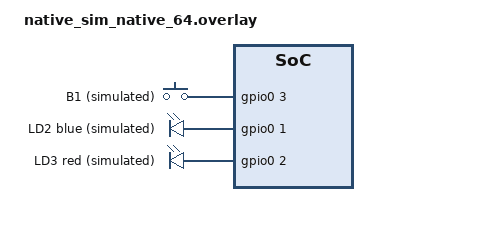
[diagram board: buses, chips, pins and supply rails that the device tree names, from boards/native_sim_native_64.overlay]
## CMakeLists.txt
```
cmake_minimum_required(VERSION 3.20.0)

# HINTS: use the workspace's Zephyr (set by west/embsk), not another tree registered on this machine
find_package(Zephyr REQUIRED HINTS $ENV{ZEPHYR_BASE})
project(thermal_monitor)

target_sources(app PRIVATE src/main.c src/monitor.c src/shell_cmds.c src/thermal.c)

# SIL target (west build -b native_sim/native/64 ...): simulated devices + `sim` shell, see boards/native_sim_native_64.overlay
target_sources_ifdef(CONFIG_BOARD_NATIVE_SIM app PRIVATE src/sim/sim_devices.c src/sim/sim_shell.c)
```

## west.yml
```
# West manifest. This folder is the manifest repo; the west workspace is its parent folder.
# `embsk setup` keeps `revision` and `name-allowlist` in sync with the board chosen with Alt+A,
# so `west update` fetches Zephyr + only the modules this board needs (not all ~60 of them).
manifest:
  version: "1.0"
  projects:
    - name: zephyr
      url: https://github.com/zephyrproject-rtos/zephyr
      revision: v4.4.2
      import:
        path-prefix: deps
        name-allowlist:
          - cmsis_6
          - hal_stm32
```

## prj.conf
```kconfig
# Peripherals
CONFIG_GPIO=y
CONFIG_SENSOR=y
CONFIG_ADC=y
CONFIG_WATCHDOG=y
CONFIG_HWINFO=y

# Evidence for humans and agents over the ST-LINK VCP (USART3, 115200 8N1)
CONFIG_LOG=y
CONFIG_SHELL=y
CONFIG_THREAD_NAME=y
CONFIG_ASSERT=y
```

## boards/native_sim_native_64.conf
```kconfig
# SIL target: console + shell on the process stdin/stdout, so an agent can drive the app with
#   embsk uart --exec build-sim/zephyr/zephyr.exe --script app/sil/thermal.sil
CONFIG_UART_NATIVE_PTY_0_ON_STDINOUT=y

# Logging like on the board: only the shell's UART backend, deferred mode.
# native_sim defaults to immediate mode, where lines logged before the shell starts (the boot line)
# never reach the shell backend, and to an extra stdout backend that prints every line twice.
CONFIG_LOG_MODE_DEFERRED=y
CONFIG_LOG_BACKEND_NATIVE_POSIX=n
```

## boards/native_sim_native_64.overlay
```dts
/*
 * SIL target (software in the loop): the same application on native_sim, with simulated devices
 * behind the same Zephyr APIs the hardware shell uses (sensor, watchdog, GPIO). monitor.c runs
 * unchanged; the shell command `sim ...` (src/sim/sim_shell.c) drives the devices.
 * Evidence level: L2 (host). It does not replace the on-target run (L4).
 * native_sim's base DTS already has led0 on gpio0 pin 0 (green).
 * File name = the profile's host_board native_sim/native/64; Zephyr has no fallback to native_sim.overlay.
 */
/ {
	aliases {
		led1 = &sim_led_blue;
		led2 = &sim_led_red;
		sw0 = &sim_button;
		die-temp0 = &sim_temp;
		watchdog0 = &sim_wdt;
	};

	sim_temp: sim-temp {
		compatible = "vnd,sim-temp";
		status = "okay";
	};

	sim_wdt: sim-wdt {
		compatible = "vnd,sim-wdt";
		status = "okay";
	};

	sim-buttons {
		compatible = "gpio-keys";

		sim_button: button_0 {
			gpios = <&gpio0 3 GPIO_ACTIVE_HIGH>;
			label = "B1 (simulated)";
		};
	};
};

&leds {
	sim_led_blue: led_1 {
		gpios = <&gpio0 1 GPIO_ACTIVE_HIGH>;
		label = "LD2 blue (simulated)";
	};

	sim_led_red: led_2 {
		gpios = <&gpio0 2 GPIO_ACTIVE_HIGH>;
		label = "LD3 red (simulated)";
	};
};
```

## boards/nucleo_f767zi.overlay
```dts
/*
 * Internal temperature sensor: ADC1 channel 18, factory calibrated (TS_CAL1/TS_CAL2 in OTP).
 * Node `die_temp` is defined (disabled) in dts/arm/st/f7/stm32f7.dtsi, binding st,stm32-temp-cal.yaml.
 * adc1 is already enabled by the board DTS (nucleo_f767zi.dts). REQ-1
 */
/ {
	aliases {
		die-temp0 = &die_temp;
	};
};

&die_temp {
	status = "okay";
};
```

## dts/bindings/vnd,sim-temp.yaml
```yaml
description: |
  Simulated die-temperature sensor for the SIL build (native_sim only).
  Implements the sensor API (SENSOR_CHAN_DIE_TEMP); the value and injected read errors are set
  from the shell (`sim temp`, `sim fail`). Driver: src/sim/sim_devices.c.

compatible: "vnd,sim-temp"

include: base.yaml
```

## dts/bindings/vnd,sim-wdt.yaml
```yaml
description: |
  Simulated watchdog for the SIL build (native_sim only). Implements the watchdog API with a
  kernel timer: when it is not fed in time it logs "watchdog expired" (where a real IWDG would
  reset the MCU). Driver: src/sim/sim_devices.c.

compatible: "vnd,sim-wdt"

include: base.yaml
```

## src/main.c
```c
#include <zephyr/app_version.h>
#include <zephyr/drivers/hwinfo.h>
#include <zephyr/kernel.h>
#include <zephyr/logging/log.h>

#include "monitor.h"

LOG_MODULE_REGISTER(app, LOG_LEVEL_INF);

/* STM32 also sets the PIN flag on power-on and watchdog resets, so check the specific causes first. */
static const char *reset_cause_str(uint32_t c)
{
	if (c & RESET_WATCHDOG) {
		return "watchdog";
	}
	if (c & RESET_BROWNOUT) {
		return "brownout";
	}
	if (c & RESET_POR) {
		return "power-on";
	}
	if (c & RESET_SOFTWARE) {
		return "software";
	}
	if (c & RESET_PIN) {
		return "pin";
	}
	return "unknown";
}

int main(void)
{
	uint32_t cause = 0;
	int rc;

	if (hwinfo_get_reset_cause(&cause) == 0) {
		(void)hwinfo_clear_reset_cause(); /* so the next boot reports its own cause (REQ-9) */
	}
	LOG_INF("boot ok v%s reset=%s", APP_VERSION_STRING, reset_cause_str(cause));

	rc = monitor_start();
	if (rc != 0) {
		LOG_ERR("monitor start failed (%d)", rc);
		return rc;
	}
	LOG_INF("monitor running: 10 Hz, B1 toggles report, shell: thermal status");
	return 0;
}
```

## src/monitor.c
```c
/*
 * Hardware shell around the thermal core (thermal.c):
 *   sampler thread (10 Hz) -> die-temp sensor -> thermal core -> LEDs + report + watchdog feed
 *   B1 button ISR -> system work queue (debounce, toggle report)
 * REQ-1, REQ-4, REQ-5, REQ-7, REQ-8
 */
#include <zephyr/device.h>
#include <zephyr/drivers/gpio.h>
#include <zephyr/drivers/sensor.h>
#include <zephyr/drivers/watchdog.h>
#include <zephyr/kernel.h>
#include <zephyr/logging/log.h>
#include <zephyr/sys/atomic.h>

#include "monitor.h"

LOG_MODULE_REGISTER(thermal, LOG_LEVEL_INF);

#define SAMPLE_PERIOD_MS   100
#define REPORT_EVERY       10 /* samples: one report line per second */
#define FAULT_AFTER_ERRORS 10
#define DEBOUNCE_MS        50
#define WDT_TIMEOUT_MS     1000
#define BLINK_HALF_MS      250 /* 2 Hz */
#define LOCK_TIMEOUT       K_MSEC(50)
#define SAMPLER_PRIO       5

static const struct thermal_cfg defaults = {.warm_mc = 45000, .hot_mc = 60000, .hyst_mc = 2000};

static const struct device *const temp_dev = DEVICE_DT_GET(DT_ALIAS(die_temp0));
static const struct device *const wdt_dev = DEVICE_DT_GET(DT_ALIAS(watchdog0));
static const struct gpio_dt_spec led_green = GPIO_DT_SPEC_GET(DT_ALIAS(led0), gpios);
static const struct gpio_dt_spec led_blue = GPIO_DT_SPEC_GET(DT_ALIAS(led1), gpios);
static const struct gpio_dt_spec led_red = GPIO_DT_SPEC_GET(DT_ALIAS(led2), gpios);
static const struct gpio_dt_spec button = GPIO_DT_SPEC_GET(DT_ALIAS(sw0), gpios);

/* th, last_mc, samples, errors, fault: written by the sampler, read by the shell; guarded by th_lock */
static K_MUTEX_DEFINE(th_lock);
static struct thermal th;
static int32_t last_mc;
static uint32_t samples;
static uint32_t errors;
static bool fault;

static atomic_t reporting;
static atomic_t presses;
static int wdt_channel;

static struct gpio_callback button_cb;
static void button_work_fn(struct k_work *work);
static K_WORK_DEFINE(button_work, button_work_fn);

K_THREAD_STACK_DEFINE(sampler_stack, 1536);
static struct k_thread sampler_thread;

static void button_isr(const struct device *dev, struct gpio_callback *cb, uint32_t pins)
{
	ARG_UNUSED(dev);
	ARG_UNUSED(cb);
	ARG_UNUSED(pins);
	k_work_submit(&button_work); /* ISR context: defer only; bounces coalesce into one queued item */
}

static void button_work_fn(struct k_work *work)
{
	static int64_t last_ms = -DEBOUNCE_MS;
	const int64_t now = k_uptime_get();

	ARG_UNUSED(work);
	if (now - last_ms < DEBOUNCE_MS) {
		return;
	}
	last_ms = now;
	atomic_inc(&presses);
	const bool on = !atomic_get(&reporting);

	atomic_set(&reporting, on);
	LOG_INF("report %s", on ? "on" : "off");
}

static void leds_show(enum thermal_state s, bool flt)
{
	const bool blink_on = (k_uptime_get() % (2 * BLINK_HALF_MS)) < BLINK_HALF_MS;

	/* LED writes can't fail in a way we could act on; state is re-applied every 100 ms anyway */
	(void)gpio_pin_set_dt(&led_green, !flt && s == THERMAL_NORMAL);
	(void)gpio_pin_set_dt(&led_blue, !flt && s == THERMAL_WARM);
	(void)gpio_pin_set_dt(&led_red, flt || (s == THERMAL_HOT && blink_on));
}

static int read_die_temp_mc(int32_t *mc)
{
	struct sensor_value v;
	int rc = sensor_sample_fetch(temp_dev);

	if (rc == 0) {
		rc = sensor_channel_get(temp_dev, SENSOR_CHAN_DIE_TEMP, &v);
	}
	if (rc == 0) {
		*mc = (int32_t)sensor_value_to_milli(&v);
	}
	return rc;
}

static void report(int32_t mc, int32_t avg, enum thermal_state s)
{
	char t_str[16], avg_str[16];

	(void)thermal_fmt_mc(t_str, sizeof(t_str), mc);
	(void)thermal_fmt_mc(avg_str, sizeof(avg_str), avg);
	LOG_INF("t=%sC avg=%sC state=%s", t_str, avg_str, thermal_state_str(s));
}

static void sampler(void *p1, void *p2, void *p3)
{
	int64_t next = k_uptime_get();
	uint32_t in_a_row = 0;

	ARG_UNUSED(p1);
	ARG_UNUSED(p2);
	ARG_UNUSED(p3);

	for (;;) {
		int32_t mc = 0;
		int rc = read_die_temp_mc(&mc);

		if (k_mutex_lock(&th_lock, LOCK_TIMEOUT) == 0) {
			if (rc == 0) {
				rc = thermal_update(&th, mc);
			}
			if (rc == 0) {
				last_mc = mc;
				samples++;
				in_a_row = 0;
				if (fault) {
					fault = false;
					LOG_INF("sensor recovered, FAULT cleared");
				}
			} else {
				errors++;
				if (++in_a_row == 1U) {
					LOG_WRN("die temp sample rejected (%d)", rc);
				} else if (in_a_row == FAULT_AFTER_ERRORS) {
					fault = true;
					LOG_ERR("FAULT: %u bad samples in a row", in_a_row);
				}
			}
			const enum thermal_state s = th.state;
			const bool flt = fault;
			const int32_t avg = th.avg_mc;
			const uint32_t n = samples;

			k_mutex_unlock(&th_lock);
			leds_show(s, flt);
			if (rc == 0 && atomic_get(&reporting) && (n % REPORT_EVERY) == 0U) {
				report(mc, avg, s);
			}
		} else {
			LOG_WRN("state lock busy, sample skipped");
		}

		/* Fed only here: if this loop stalls, the IWDG resets the MCU (REQ-8). */
		(void)wdt_feed(wdt_dev, wdt_channel);
		next += SAMPLE_PERIOD_MS;
		k_sleep(K_TIMEOUT_ABS_MS(next)); /* absolute deadline: no drift (REQ-1) */
	}
}

static int watchdog_start(void)
{
	const struct wdt_timeout_cfg cfg = {
		.window = {.min = 0U, .max = WDT_TIMEOUT_MS},
		.callback = NULL, /* IWDG: no early-warning callback without IWDG_STM32_EARLY_WAKEUP */
		.flags = WDT_FLAG_RESET_SOC,
	};

	wdt_channel = wdt_install_timeout(wdt_dev, &cfg);
	if (wdt_channel < 0) {
		return wdt_channel;
	}
	return wdt_setup(wdt_dev, WDT_OPT_PAUSE_HALTED_BY_DBG); /* frozen while a debugger halts the core */
}

int monitor_start(void)
{
	const struct gpio_dt_spec *const leds[] = {&led_green, &led_blue, &led_red};
	int rc;

	if (!device_is_ready(temp_dev) || !device_is_ready(wdt_dev) || !gpio_is_ready_dt(&button)) {
		return -ENODEV;
	}
	for (size_t i = 0; i < ARRAY_SIZE(leds); i++) {
		if (!gpio_is_ready_dt(leds[i])) {
			return -ENODEV;
		}
		rc = gpio_pin_configure_dt(leds[i], GPIO_OUTPUT_INACTIVE);
		if (rc != 0) {
			return rc;
		}
	}
	rc = gpio_pin_configure_dt(&button, GPIO_INPUT);
	if (rc == 0) {
		rc = gpio_pin_interrupt_configure_dt(&button, GPIO_INT_EDGE_TO_ACTIVE);
	}
	if (rc != 0) {
		return rc;
	}
	gpio_init_callback(&button_cb, button_isr, BIT(button.pin));
	rc = gpio_add_callback_dt(&button, &button_cb);
	if (rc != 0) {
		return rc;
	}
	rc = thermal_init(&th, &defaults);
	if (rc != 0) {
		return rc;
	}
	rc = watchdog_start(); /* last: once started, the IWDG cannot be stopped */
	if (rc != 0) {
		return rc;
	}
	k_thread_create(&sampler_thread, sampler_stack, K_THREAD_STACK_SIZEOF(sampler_stack), sampler, NULL,
			NULL, NULL, SAMPLER_PRIO, 0, K_NO_WAIT);
	k_thread_name_set(&sampler_thread, "sampler");
	return 0;
}

int monitor_get(struct monitor_status *out)
{
	if (k_mutex_lock(&th_lock, LOCK_TIMEOUT) != 0) {
		return -EBUSY;
	}
	*out = (struct monitor_status){
		.last_mc = last_mc,
		.avg_mc = th.avg_mc,
		.min_mc = th.min_mc,
		.max_mc = th.max_mc,
		.warm_mc = th.cfg.warm_mc,
		.hot_mc = th.cfg.hot_mc,
		.state = th.state,
		.fault = fault,
		.samples = samples,
		.errors = errors,
	};
	k_mutex_unlock(&th_lock);
	out->reporting = atomic_get(&reporting) != 0;
	out->presses = (uint32_t)atomic_get(&presses);
	return 0;
}

int monitor_set_thresholds(int32_t warm_mc, int32_t hot_mc)
{
	int rc;

	if (k_mutex_lock(&th_lock, LOCK_TIMEOUT) != 0) {
		return -EBUSY;
	}
	rc = thermal_set_thresholds(&th, warm_mc, hot_mc);
	k_mutex_unlock(&th_lock);
	if (rc == 0) {
		LOG_INF("thresholds warm=%d hot=%d mC", warm_mc, hot_mc);
	}
	return rc;
}
```

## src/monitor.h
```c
/* Thermal monitor service: owns the sampler thread, LEDs, button and watchdog. */
#ifndef MONITOR_H_
#define MONITOR_H_

#include <stdbool.h>
#include <stdint.h>

#include "thermal.h"

struct monitor_status {
	int32_t last_mc;
	int32_t avg_mc;
	int32_t min_mc;
	int32_t max_mc;
	int32_t warm_mc;
	int32_t hot_mc;
	enum thermal_state state;
	bool fault;
	bool reporting;
	uint32_t samples;
	uint32_t errors;
	uint32_t presses;
};

/* Checks devices, configures LEDs/button/watchdog, starts sampling. 0 or negative errno. */
int monitor_start(void);
/* Snapshot for the shell. -EBUSY if the state lock is not available in time. */
int monitor_get(struct monitor_status *out);
/* -EINVAL (see thermal_set_thresholds) or -EBUSY. */
int monitor_set_thresholds(int32_t warm_mc, int32_t hot_mc);

#endif /* MONITOR_H_ */
```

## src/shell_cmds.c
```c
/* Shell commands over the ST-LINK VCP: a query surface for humans and agents. REQ-6 */
#include <zephyr/shell/shell.h>
#include <zephyr/shell/shell_string_conv.h>

#include "monitor.h"

static int cmd_status(const struct shell *sh, size_t argc, char **argv)
{
	struct monitor_status st;
	char t[16], avg[16], lo[16], hi[16];
	const int rc = monitor_get(&st);

	ARG_UNUSED(argc);
	ARG_UNUSED(argv);
	if (rc != 0) {
		shell_error(sh, "state busy (%d), try again", rc);
		return rc;
	}
	(void)thermal_fmt_mc(t, sizeof(t), st.last_mc);
	(void)thermal_fmt_mc(avg, sizeof(avg), st.avg_mc);
	(void)thermal_fmt_mc(lo, sizeof(lo), st.min_mc);
	(void)thermal_fmt_mc(hi, sizeof(hi), st.max_mc);
	shell_print(sh, "t=%sC avg=%sC min=%sC max=%sC state=%s%s", t, avg, lo, hi,
		    thermal_state_str(st.state), st.fault ? " FAULT" : "");
	shell_print(sh, "warm=%d hot=%d mC samples=%u errors=%u presses=%u report=%s", st.warm_mc,
		    st.hot_mc, st.samples, st.errors, st.presses, st.reporting ? "on" : "off");
	return 0;
}

static int cmd_thresholds(const struct shell *sh, size_t argc, char **argv)
{
	int err = 0;
	const long warm = shell_strtol(argv[1], 10, &err);
	const long hot = (err == 0) ? shell_strtol(argv[2], 10, &err) : 0;

	ARG_UNUSED(argc);
	if (err != 0 || warm < INT32_MIN || warm > INT32_MAX || hot < INT32_MIN || hot > INT32_MAX) {
		shell_error(sh, "usage: thermal thresholds <warm_mC> <hot_mC>");
		return -EINVAL;
	}
	const int rc = monitor_set_thresholds((int32_t)warm, (int32_t)hot);

	if (rc == -EINVAL) {
		shell_error(sh, "rejected: need -40000 <= warm < hot <= 125000 and hot - warm > hysteresis");
	} else if (rc != 0) {
		shell_error(sh, "failed (%d)", rc);
	} else {
		shell_print(sh, "ok");
	}
	return rc;
}

SHELL_STATIC_SUBCMD_SET_CREATE(thermal_cmds,
	SHELL_CMD(status, NULL, "Temperature, state and counters", cmd_status),
	SHELL_CMD_ARG(thresholds, NULL, "Set thresholds: <warm_mC> <hot_mC>", cmd_thresholds, 3, 0),
	SHELL_SUBCMD_SET_END);
SHELL_CMD_REGISTER(thermal, &thermal_cmds, "Thermal monitor", NULL);
```

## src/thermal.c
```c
#include <errno.h>
#include <stdio.h>
#include <string.h>

#include "thermal.h"

static int cfg_valid(const struct thermal_cfg *c)
{
	return c->warm_mc >= THERMAL_MIN_MC && c->hot_mc <= THERMAL_MAX_MC && c->warm_mc < c->hot_mc &&
	       c->hyst_mc >= 0 && c->hyst_mc < (c->hot_mc - c->warm_mc);
}

int thermal_init(struct thermal *t, const struct thermal_cfg *cfg)
{
	if (!cfg_valid(cfg)) {
		return -EINVAL;
	}
	memset(t, 0, sizeof(*t));
	t->cfg = *cfg;
	t->state = THERMAL_NORMAL;
	return 0;
}

int thermal_set_thresholds(struct thermal *t, int32_t warm_mc, int32_t hot_mc)
{
	const struct thermal_cfg c = {.warm_mc = warm_mc, .hot_mc = hot_mc, .hyst_mc = t->cfg.hyst_mc};

	if (!cfg_valid(&c)) {
		return -EINVAL;
	}
	t->cfg = c;
	return 0;
}

/* Rising edges use the thresholds, falling edges threshold - hysteresis (no LED flicker). */
static enum thermal_state classify(const struct thermal *t)
{
	const struct thermal_cfg *c = &t->cfg;
	const int32_t a = t->avg_mc;

	if (a >= c->hot_mc || (t->state == THERMAL_HOT && a >= c->hot_mc - c->hyst_mc)) {
		return THERMAL_HOT;
	}
	if (a >= c->warm_mc || (t->state != THERMAL_NORMAL && a >= c->warm_mc - c->hyst_mc)) {
		return THERMAL_WARM;
	}
	return THERMAL_NORMAL;
}

int thermal_update(struct thermal *t, int32_t sample_mc)
{
	if (sample_mc < THERMAL_MIN_MC || sample_mc > THERMAL_MAX_MC) {
		return -ERANGE;
	}
	if (t->count == THERMAL_AVG_LEN) {
		t->sum -= t->win[t->idx];
	} else {
		t->count++;
	}
	t->win[t->idx] = sample_mc;
	t->sum += sample_mc;
	t->idx = (uint8_t)((t->idx + 1U) % THERMAL_AVG_LEN);
	t->avg_mc = t->sum / (int32_t)t->count;

	if (t->count == 1U) { /* count saturates at AVG_LEN, so 1 only for the very first sample */
		t->min_mc = sample_mc;
		t->max_mc = sample_mc;
	} else if (sample_mc < t->min_mc) {
		t->min_mc = sample_mc;
	} else if (sample_mc > t->max_mc) {
		t->max_mc = sample_mc;
	}
	t->state = classify(t);
	return 0;
}

const char *thermal_state_str(enum thermal_state s)
{
	switch (s) {
	case THERMAL_NORMAL:
		return "NORMAL";
	case THERMAL_WARM:
		return "WARM";
	case THERMAL_HOT:
		return "HOT";
	default:
		return "?";
	}
}

int thermal_fmt_mc(char *buf, size_t len, int32_t mc)
{
	const uint32_t a = (mc < 0) ? (uint32_t)(-(int64_t)mc) : (uint32_t)mc;
	const int n = snprintf(buf, len, "%s%u.%03u", (mc < 0) ? "-" : "", (unsigned int)(a / 1000U),
			       (unsigned int)(a % 1000U));

	return (n < 0 || (size_t)n >= len) ? -ENOSPC : n;
}
```

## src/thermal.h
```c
/*
 * Thermal core: moving average, plausibility and hysteresis classification in milli-degC.
 * Pure C, no Zephyr headers: runs unchanged in host tests (native_sim). REQ-2, REQ-3, REQ-6, REQ-7
 */
#ifndef THERMAL_H_
#define THERMAL_H_

#include <stddef.h>
#include <stdint.h>

#define THERMAL_AVG_LEN 8U
/* Plausibility window for a die sensor (industrial junction range); also the threshold range. */
#define THERMAL_MIN_MC (-40000)
#define THERMAL_MAX_MC 125000

enum thermal_state {
	THERMAL_NORMAL,
	THERMAL_WARM,
	THERMAL_HOT,
};

struct thermal_cfg {
	int32_t warm_mc; /* enter WARM at or above */
	int32_t hot_mc;  /* enter HOT at or above */
	int32_t hyst_mc; /* leave a state only below its threshold minus this */
};

struct thermal {
	struct thermal_cfg cfg;
	int32_t win[THERMAL_AVG_LEN];
	int32_t sum; /* <= 8 * 125000: fits int32 */
	uint8_t idx;
	uint8_t count;
	int32_t avg_mc;
	int32_t min_mc;
	int32_t max_mc;
	enum thermal_state state;
};

/* Returns 0, or -EINVAL for an invalid configuration. */
int thermal_init(struct thermal *t, const struct thermal_cfg *cfg);
/* Keeps the hysteresis; -EINVAL unless MIN <= warm < hot <= MAX and hot - warm > hysteresis. */
int thermal_set_thresholds(struct thermal *t, int32_t warm_mc, int32_t hot_mc);
/* Adds one sample. -ERANGE for an implausible sample (state and average unchanged). */
int thermal_update(struct thermal *t, int32_t sample_mc);
const char *thermal_state_str(enum thermal_state s);
/* "31.250" / "-0.005". Returns the length, or -ENOSPC if buf is too small. */
int thermal_fmt_mc(char *buf, size_t len, int32_t mc);

#endif /* THERMAL_H_ */
```
